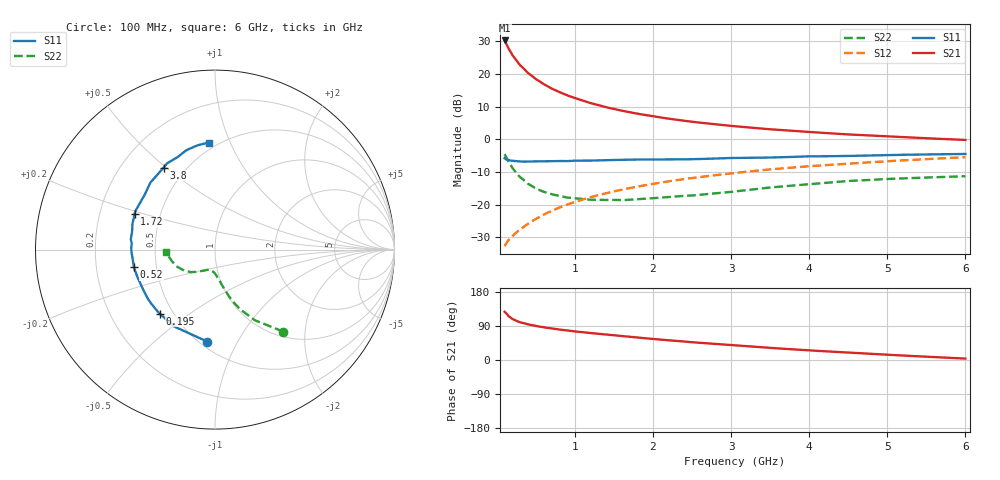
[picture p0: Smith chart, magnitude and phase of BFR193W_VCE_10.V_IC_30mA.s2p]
! Infineon Technologies  Discrete & RF Semiconductors
! BFR193W
! VCE =  10. V,  IC =  30 mA
! Common Emitter S-Parameters:  Nov 2015
# GHz  S  MA  R  50
!  f  S11  S21  S12  S22
! GHz  MAG  ANG  MAG  ANG  MAG  ANG  MAG  ANG
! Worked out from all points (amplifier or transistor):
!   192 points, 100 MHz to 6 GHz, reference 50 ohm
!   highest |S21| = 30.2 dB at 100 MHz (marker M1)
!   |S21| within 3 dB of that: start of sweep to 164.6 MHz
!   unconditionally stable (mu >= 1): 714.6 MHz to 2.68 GHz
!   at 440 MHz: K = 0.92, MSG = 22.4 dB, |S12| = -25.2 dB
!   at 1.7 GHz: K = 1.03, MAG = 10.6 dB, |S12| = -14.9 dB
!   at 6 GHz: K = 0.91, MSG = 2.6 dB, |S12| = -5.5 dB
!   S11 on the Smith chart (normalised r, x): 100 MHz: 0.55, -0.76; 195 MHz: 0.42, -0.39; 520 MHz: 0.37, -0.09; 1.72 GHz: 0.36, +0.18; 3.8 GHz: 0.38, +0.49; 6 GHz: 0.45, +0.84
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0.1  0.5145 -94.7  32.42 127.1  0.0233 58.8  0.5933 -50.3
0.15  0.4851 -117.9  24.47 115.6  0.0289 57.0  0.4528 -60.5
0.195  0.4709 -130.7  19.88 109.1  0.0328 57.7  0.3735 -66.0
0.2  0.4708 -132.2  19.39 108.2  0.0332 57.8  0.365 -66.8
0.24  0.4655 -140.1  16.62 104.4  0.0369 58.7  0.3151 -70.3
0.26  0.4636 -143.6  15.45 102.6  0.0387 59.3  0.295 -71.8
0.3  0.4588 -149.6  13.52 99.4  0.0421 60.8  0.2637 -73.9
0.4  0.4584 -160.2  10.3 93.8  0.0512 63.7  0.2091 -78.2
0.52  0.4615 -168.0  8.056 89.1  0.0627 66.3  0.1734 -81.8
0.6  0.4616 -172.4  6.984 86.3  0.0708 67.2  0.1578 -84.6
0.7  0.4643 -176.6  5.991 83.1  0.0804 68.2  0.1448 -86.8
0.8  0.4671 179.3  5.278 80.4  0.0904 68.6  0.1367 -89.5
0.9  0.465 175.8  4.7 77.9  0.1005 68.9  0.129 -91.3
1.1  0.4722 170.3  3.919 73.4  0.1204 68.7  0.1224 -96.1
1.4  0.4821 162.7  3.092 67.0  0.15 67.7  0.1181 -102.9
1.72  0.4896 156.3  2.574 60.8  0.1817 65.9  0.1195 -109.6
2.08  0.492 149.0  2.175 54.2  0.2164 63.8  0.1279 -115.4
3.1  0.5196 132.6  1.565 37.9  0.3109 56.0  0.1623 -130.1
3.8  0.5393 122.1  1.344 28.0  0.3718 50.1  0.1969 -142.3
4.1  0.5502 117.5  1.273 24.2  0.3955 47.6  0.2109 -147.6
5.1  0.5783 104.7  1.098 12.8  0.4699 39.7  0.2502 -166.1
6  0.5974 93.4  0.979 3.7  0.5333 32.4  0.273 -176.7
